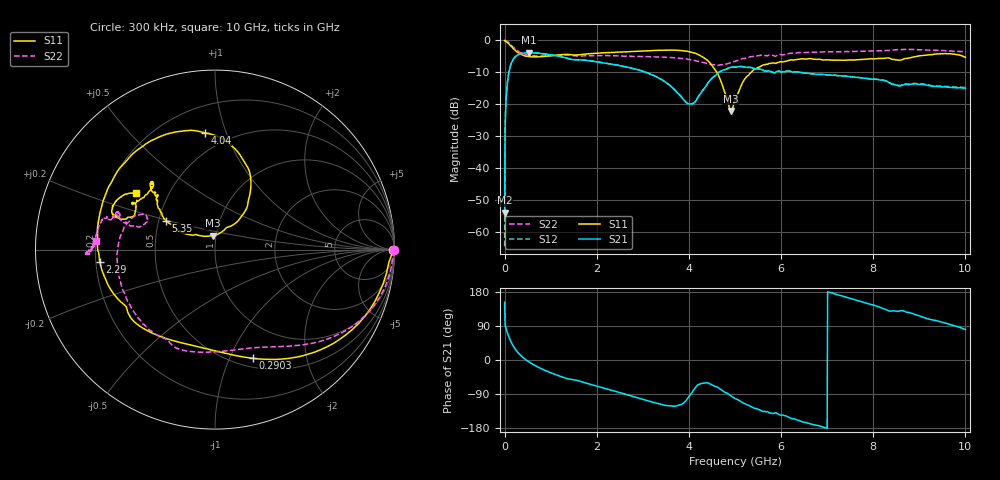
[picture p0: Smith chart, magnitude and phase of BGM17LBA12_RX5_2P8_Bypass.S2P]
!Agilent Technologies,E5071C,MY46316587,B.13.01
!Date: Fri Dec 08 11:11:23 2017
!Data & Calibration Information:
!Freq	S11:SOLT2(ON)	S21:SOLT2(ON)	S12:SOLT2(ON)	S22:SOLT2(ON)
!PortZ  Port1:50+j0  Port2:50+j0
!Above PortZ is port z conversion or system Z0 setting when saving the data.
!When reading, reference impedance value at option line is always used.
# Hz S dB R 50
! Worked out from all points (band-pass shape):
!   1001 points, 300 kHz to 10 GHz, reference 50 ohm
!   highest |S21| = -3.87 dB at 530.3 MHz (marker M1); lowest = -53.9 dB at 300 kHz (marker M2)
!   |S21| within 3 dB of the highest: 155.4 MHz to 2.064 GHz (1.908 GHz wide, 172 % of centre)
!   lowest |S11| = -22.1 dB at 4.91 GHz (marker M3), VSWR 1.17, Z = 48.2 + j7.56 ohm
!   |S11| at or under -10 dB: 4.609 GHz to 5.349 GHz (739.2 MHz wide, 14.8 % of centre)
!   |S22| runs from -7.9 to 0.0 dB; largest |S21 - S12| = 0.0059
!   S11 on the Smith chart (normalised r, x): 300 kHz: open; 290.3 MHz: 0.60, -1.23; 2.29 GHz: 0.22, -0.05; 4.04 GHz: 0.37, +0.84; 5.35 GHz: 0.55, +0.20; 10 GHz: 0.33, +0.29
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300000  -0.06 -0.2  -53.87 152.3  -64.32 122.9  -0.05 -0.2
6.02982e7  -0.67 -21.0  -13.34 71.6  -13.26 71.7  -0.40 -16.1
7.02979e7  -0.79 -24.2  -12.11 68.3  -12.06 68.2  -0.50 -18.5
1.502955e8  -1.98 -45.9  -7.03 45.3  -7.00 45.0  -1.61 -34.9
2.902913e8  -3.86 -70.7  -4.54 19.5  -4.53 19.4  -3.39 -52.7
5.302841e8  -5.12 -95.1  -3.87 -5.3  -3.85 -5.4  -4.71 -70.8
1.030269e9  -4.76 -125.0  -4.61 -35.0  -4.59 -35.1  -4.78 -97.3
1.67025e9  -4.44 -150.9  -6.14 -57.2  -6.10 -57.1  -4.88 -120.2
2.290231e9  -3.80 -173.9  -7.38 -79.0  -7.36 -78.7  -4.83 -137.7
3.3402e9  -3.12 137.9  -11.76 -115.3  -11.75 -114.9  -5.22 -173.0
4.040179e9  -3.69 95.1  -19.90 -90.1  -19.74 -90.2  -6.05 160.0
4.360169e9  -5.81 71.2  -14.51 -60.5  -14.43 -60.3  -7.07 153.4
4.570163e9  -9.27 56.7  -11.08 -69.8  -11.08 -69.5  -7.65 155.7
4.910153e9  -22.05 99.0  -8.44 -94.7  -8.45 -94.7  -6.91 163.6
5.00015e9  -18.56 138.3  -8.39 -101.5  -8.36 -101.3  -6.56 163.7
5.35014e9  -9.98 149.4  -8.52 -123.2  -8.49 -123.1  -5.11 162.1
5.770127e9  -7.23 138.0  -9.75 -139.8  -9.72 -139.7  -4.61 159.4
6.6701e9  -5.76 132.5  -10.50 -169.4  -10.46 -169.2  -3.72 165.5
8.34005e9  -5.53 150.1  -13.16 129.6  -13.11 129.7  -3.17 -178.7
8.780037e9  -5.54 161.2  -13.83 125.4  -13.68 125.1  -2.91 -177.8
9.410018e9  -4.23 159.5  -14.46 102.5  -14.25 102.4  -3.13 -179.9
1e10  -5.34 144.5  -14.96 80.2  -14.76 80.6  -3.57 176.0
